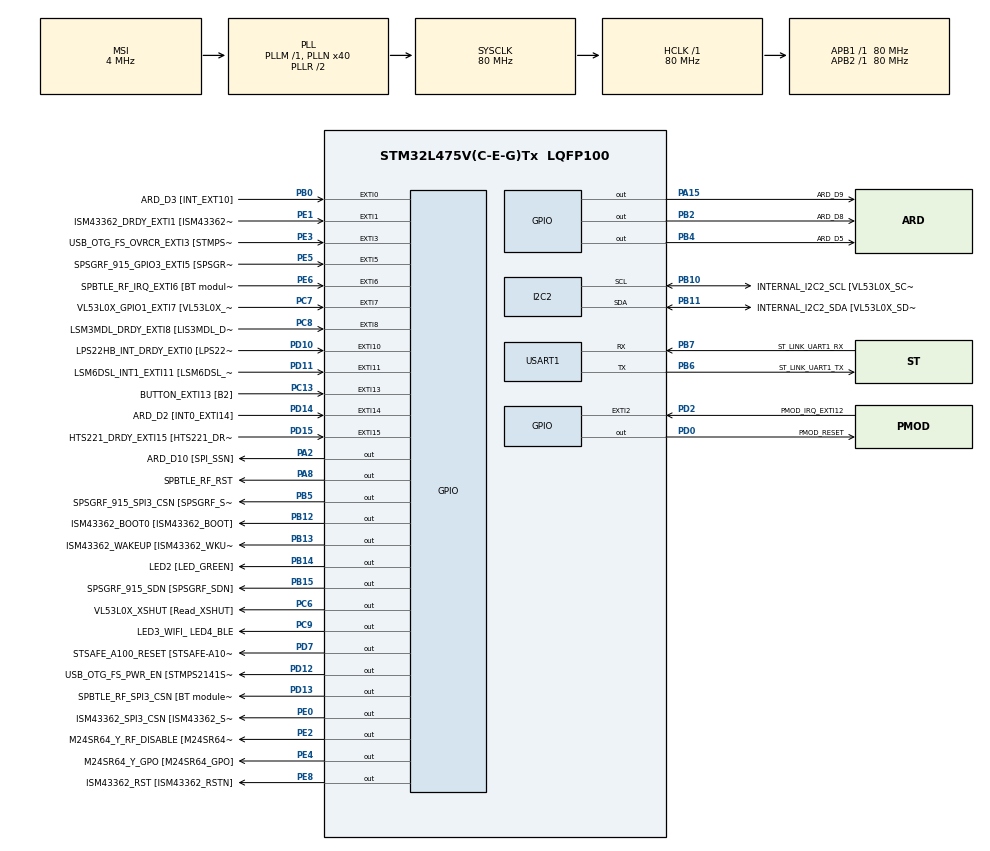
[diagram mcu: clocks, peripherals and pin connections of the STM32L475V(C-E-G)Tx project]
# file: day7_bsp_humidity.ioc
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I2C2.Timing=0x10909CEC
Mcu.Family=STM32L4
Mcu.Name=STM32L475V(C-E-G)Tx
Mcu.Package=LQFP100
NVIC.EXTI15_10_IRQn=true\:0\:0\:false\:false\:true\:true\:true
NVIC.EXTI9_5_IRQn=true\:0\:0\:false\:false\:true\:true\:true
NVIC.PriorityGroup=NVIC_PRIORITYGROUP_4
PA0.GPIO_Label=ARD_D1 [UART4_TX]
PA0.Signal=UART4_TX
PA1.GPIO_Label=ARD_D0 [UART4_RX]
PA1.Signal=UART4_RX
PA10.GPIO_Label=USB_OTG_FS_ID
PA10.Signal=USB_OTG_FS_ID
PA11.GPIO_Label=USB_OTG_FS_DM
PA11.Signal=USB_OTG_FS_DM
PA12.GPIO_Label=USB_OTG_FS_DP
PA12.Signal=USB_OTG_FS_DP
PA13\ (JTMS-SWDIO).GPIO_Label=SYS_JTMS_SWDIO
PA13\ (JTMS-SWDIO).Signal=SYS_JTMS-SWDIO
PA14\ (JTCK-SWCLK).GPIO_Label=SYS_JTCK_SWCLK
PA14\ (JTCK-SWCLK).Signal=SYS_JTCK-SWCLK
PA15\ (JTDI).GPIO_Label=ARD_D9
PA15\ (JTDI).Signal=GPIO_Output
PA2.GPIO_Label=ARD_D10 [SPI_SSN]
PA2.Signal=GPIO_Output
PA3.GPIO_Label=ARD_D4
PA3.Signal=S_TIM2_CH4
PA4.GPIO_Label=ARD_D7
PA4.Signal=ADCx_IN9
PA5.GPIO_Label=ARD_D13 [SPI1_SCK]
PA5.Signal=SPI1_SCK
PA6.GPIO_Label=ARD_D12 [SPI1_MISO]
PA6.Signal=SPI1_MISO
PA7.GPIO_Label=ARD_D11 [SPI1_MOSI]
PA7.Signal=SPI1_MOSI
PA8.GPIO_Label=SPBTLE_RF_RST
PA8.Signal=GPIO_Output
PA9.GPIO_Label=USB_OTG_FS_VBUS [STMPS2141STR_OUT]
PA9.Signal=USB_OTG_FS_VBUS
PB0.GPIO_Label=ARD_D3 [INT_EXT10]
PB0.Signal=GPXTI0
PB1.GPIO_Label=ARD_D6 [ADC1_IN6]
PB1.Signal=ADCx_IN16
PB10.GPIO_Label=INTERNAL_I2C2_SCL [VL53L0X_SCL]
PB10.Mode=I2C
PB10.Signal=I2C2_SCL
PB11.GPIO_Label=INTERNAL_I2C2_SDA [VL53L0X_SDA]
PB11.Mode=I2C
PB11.Signal=I2C2_SDA
PB12.GPIO_Label=ISM43362_BOOT0 [ISM43362_BOOT]
PB12.Signal=GPIO_Output
PB13.GPIO_Label=ISM43362_WAKEUP [ISM43362_WKUP]
PB13.Signal=GPIO_Output
PB14.GPIO_Label=LED2 [LED_GREEN]
PB14.Signal=GPIO_Output
PB15.GPIO_Label=SPSGRF_915_SDN [SPSGRF_SDN]
PB15.Signal=GPIO_Output
PB2.GPIO_Label=ARD_D8
PB2.Signal=GPIO_Output
PB3\ (JTDO-TRACESWO).GPIO_Label=SYS_JTD0_SWO
PB3\ (JTDO-TRACESWO).Signal=SYS_JTDO-SWO
PB4\ (NJTRST).GPIO_Label=ARD_D5
PB4\ (NJTRST).Signal=GPIO_Output
PB5.GPIO_Label=SPSGRF_915_SPI3_CSN [SPSGRF_SPI_CS]
PB5.PinState=GPIO_PIN_SET
PB5.Signal=GPIO_Output
PB6.GPIO_Label=ST_LINK_UART1_TX
PB6.Mode=Asynchronous
PB6.Signal=USART1_TX
PB7.GPIO_Label=ST_LINK_UART1_RX
PB7.Mode=Asynchronous
PB7.Signal=USART1_RX
PB8.GPIO_Label=ARD_D15 [I2C1_SCL]
PB8.Signal=I2C1_SCL
PB9.GPIO_Label=ARD_D14 [I2C1_SDA]
PB9.Signal=I2C1_SDA
PC0.GPIO_Label=ARD_A5 [ADC]
PC0.Signal=ADCx_IN1
PC1.GPIO_Label=ARD_A4 [ADC]
PC1.Signal=ADCx_IN2
PC10.GPIO_Label=INTERNAL_SPI3_SCK [BT module_SPI_SCLK] [ISM43362_SCK]
PC10.Signal=SPI3_SCK
PC11.GPIO_Label=INTERNAL_SPI3_MISO [BT module_SPI_MISO] [ISM43362_MISO]
PC11.Signal=SPI3_MISO
PC12.GPIO_Label=INTERNAL_SPI3_MOSI [BT module_SPI_MOSI] [ISM43362_MOSI]
PC12.Signal=SPI3_MOSI
PC13.GPIO_Label=BUTTON_EXTI13 [B2]
PC13.GPIO_ModeDefaultEXTI=GPIO_MODE_IT_FALLING
PC13.Signal=GPXTI13
PC14-OSC32_IN\ (PC14).Signal=RCC_OSC32_IN
PC15-OSC32_OUT\ (PC15).Signal=RCC_OSC32_OUT
PC2.GPIO_Label=ARD_A3 [ADC]
PC2.Signal=ADCx_IN3
PC3.GPIO_Label=ARD_A2 [ADC]
PC3.Signal=ADCx_IN4
PC4.GPIO_Label=ARD_A1 [ADC]
PC4.Signal=ADCx_IN13
PC5.GPIO_Label=ARD_A0 [ADC]
PC5.Signal=ADCx_IN14
PC6.GPIO_Label=VL53L0X_XSHUT [Read_XSHUT]
PC6.Signal=GPIO_Output
PC7.GPIO_Label=VL53L0X_GPIO1_EXTI7 [VL53L0X_GPIO1]
PC7.Signal=GPXTI7
PC8.GPIO_Label=LSM3MDL_DRDY_EXTI8 [LIS3MDL_DRDY]
PC8.Signal=GPXTI8
PC9.GPIO_Label=LED3_WIFI_ LED4_BLE
PC9.Signal=GPIO_Output
PD0.GPIO_Label=PMOD_RESET
PD0.Signal=GPIO_Output
PD1.GPIO_Label=PMOD_SPI2_SCK
PD1.Signal=SPI2_SCK
PD10.GPIO_Label=LPS22HB_INT_DRDY_EXTI0 [LPS22HB_INT_DRDY] 
PD10.Signal=GPXTI10
PD11.GPIO_Label=LSM6DSL_INT1_EXTI11 [LSM6DSL_INT1]
PD11.Signal=GPXTI11
PD12.GPIO_Label=USB_OTG_FS_PWR_EN [STMPS2141STR_EN]
PD12.Signal=GPIO_Output
PD13.GPIO_Label=SPBTLE_RF_SPI3_CSN [BT module_SPI_CS]
PD13.PinState=GPIO_PIN_SET
PD13.Signal=GPIO_Output
PD14.GPIO_Label=ARD_D2 [INT0_EXTI14]
PD14.Signal=GPXTI14
PD15.GPIO_Label=HTS221_DRDY_EXTI15 [HTS221_DRDY]
PD15.Signal=GPXTI15
PD2.GPIO_Label=PMOD_IRQ_EXTI12
PD2.Signal=GPXTI2
PD3.GPIO_Label=PMOD_UART2_CTS
PD3.Signal=USART2_CTS
PD4.GPIO_Label=PMOD_UART2_RTS
PD4.Signal=USART2_RTS
PD5.GPIO_Label=PMOD_UART2_TX
PD5.Signal=USART2_TX
PD6.GPIO_Label=PMOD_UART2_RX
PD6.Signal=USART2_RX
PD7.GPIO_Label=STSAFE_A100_RESET [STSAFE-A100_RESET]
PD7.Signal=GPIO_Output
PD8.GPIO_Label=INTERNAL_UART3_TX [ISM43362_RX]
PD8.Signal=USART3_TX
PD9.GPIO_Label=INTERNAL_UART3_RX [ISM43362_TX]
PD9.Signal=USART3_RX
PE0.GPIO_Label=ISM43362_SPI3_CSN [ISM43362_SSN]
PE0.PinState=GPIO_PIN_SET
PE0.Signal=GPIO_Output
PE1.GPIO_Label=ISM43362_DRDY_EXTI1 [ISM43362_DATARDY]
PE1.Signal=GPXTI1
PE10.GPIO_Label=QUADSPI_CLK [MX25R6435F_SCLK]
PE10.Signal=QUADSPI_CLK
PE11.GPIO_Label=QUADSPI_NCS [MX25R6435F_SCLK]
PE11.Signal=QUADSPI_NCS
PE12.GPIO_Label=OQUADSPI_BK1_IO0 [MX25R6435F_IO0]
PE12.Signal=QUADSPI_BK1_IO0
PE13.GPIO_Label=QUADSPI_BK1_IO1 [MX25R6435F_IO1]
PE13.Signal=QUADSPI_BK1_IO1
PE14.GPIO_Label=QUAD_SPI_BK1_IO2 [MX25R6435F_IO2]
PE14.Signal=QUADSPI_BK1_IO2
PE15.GPIO_Label=QUAD_SPI_BK1_IO3 [MX25R6435F_IO3]
PE15.Signal=QUADSPI_BK1_IO3
PE2.GPIO_Label=M24SR64_Y_RF_DISABLE [M24SR64_RFDIS]
PE2.Signal=GPIO_Output
PE3.GPIO_Label=USB_OTG_FS_OVRCR_EXTI3 [STMPS2141STR_FAULT]
PE3.Signal=GPXTI3
PE4.GPIO_Label=M24SR64_Y_GPO [M24SR64_GPO]
PE4.Signal=GPIO_Output
PE5.GPIO_Label=SPSGRF_915_GPIO3_EXTI5 [SPSGRF_GPIO_3]
PE5.Signal=GPXTI5
PE6.GPIO_Label=SPBTLE_RF_IRQ_EXTI6 [BT module_SPI_IRQ]
PE6.Signal=GPXTI6
PE7.GPIO_Label=DFSDM1_DATIN2 [MP34DT01_DOUT]
PE7.Signal=S_DATAIN2DFSDM1
PE8.GPIO_Label=ISM43362_RST [ISM43362_RSTN]
PE8.Signal=GPIO_Output
PE9.GPIO_Label=DFSDM1_CKOUT [MP34DT01_CLK]
PE9.Signal=S_CKOUTDFSDM1
ProjectManager.HeapSize=0x200
ProjectManager.StackSize=0x400
ProjectManager.TargetToolchain=STM32CubeIDE
RCC.ADCFreq_Value=48000000
RCC.AHBFreq_Value=80000000
RCC.APB1Freq_Value=80000000
RCC.APB1TimFreq_Value=80000000
RCC.APB2Freq_Value=80000000
RCC.APB2TimFreq_Value=80000000
RCC.CortexFreq_Value=80000000
RCC.HCLKFreq_Value=80000000
RCC.HSE_VALUE=8000000
RCC.HSI_VALUE=16000000
RCC.LSE_VALUE=32768
RCC.MSI_VALUE=4000000
RCC.PLLN=40
RCC.PLLSAI1N=24
RCC.SYSCLKFreq_VALUE=80000000
RCC.SYSCLKSource=RCC_SYSCLKSOURCE_PLLCLK
RCC.USBFreq_Value=48000000
RCC.VCOOutputFreq_Value=160000000
SH.ADCx_IN1.0=ADC1_IN1
SH.ADCx_IN13.0=ADC1_IN13
SH.ADCx_IN14.0=ADC1_IN14
SH.ADCx_IN16.0=ADC1_IN16
SH.ADCx_IN2.0=ADC1_IN2
SH.ADCx_IN3.0=ADC1_IN3
SH.ADCx_IN4.0=ADC1_IN4
SH.ADCx_IN9.0=ADC1_IN9
SH.S_CKOUTDFSDM1.0=DFSDM1_CKOUT
SH.S_DATAIN2DFSDM1.0=DFSDM1_DATIN2
SH.S_TIM2_CH4.0=TIM2_CH4
USART1.VirtualMode-Asynchronous=VM_ASYNC
board=B-L475E-IOT01A1

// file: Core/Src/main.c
/* USER CODE BEGIN Header */
/**
  ******************************************************************************
  * @file           : main.c
  * @brief          : Main program body
  ******************************************************************************
  * @attention
  *
  * <h2><center>&copy; Copyright (c) 2023 STMicroelectronics.
  * All rights reserved.</center></h2>
  *
  * This software component is licensed by ST under BSD 3-Clause license,
  * the "License"; You may not use this file except in compliance with the
  * License. You may obtain a copy of the License at:
  *                        opensource.org/licenses/BSD-3-Clause
  *
  ******************************************************************************
  */
/* USER CODE END Header */
#include "main.h"

/* USER CODE BEGIN Includes */
#include <stdio.h>

#include "stm32l475e_iot01.h"

#include "stm32l475e_iot01_tsensor.h"
#include "stm32l475e_iot01_hsensor.h"
#include "stm32l475e_iot01_psensor.h"

#include <math.h>

/* USER CODE END Includes */

I2C_HandleTypeDef hi2c2;

UART_HandleTypeDef huart1;

/* USER CODE BEGIN PV */
float temp_value = 0; // Measured temperature value
float hum_value = 0;
float pre_value = 0;

char str_tmp[100] = ""; // Formatted message to display the temperature value
char str_hum[100] = "";
char str_pre[100] = "";
uint8_t msg1[] = "****** Temperature values measurement ******\n\n\r";

uint8_t msg2[] = "=====> Initialize Temperature sensor HTS221 \r\n";

uint8_t msg3[] = "=====> Temperature sensor HTS221 initialized \r\n ";
/* USER CODE END PV */

void SystemClock_Config(void);
static void MX_GPIO_Init(void);
static void MX_I2C2_Init(void);
static void MX_USART1_UART_Init(void);

int main(void)
{

  /* MCU Configuration--------------------------------------------------------*/

  /* Reset of all peripherals, Initializes the Flash interface and the Systick. */
  HAL_Init();

  /* Configure the system clock */
  SystemClock_Config();

  /* Initialize all configured peripherals */
  MX_GPIO_Init();
  MX_I2C2_Init();
  MX_USART1_UART_Init();
  /* USER CODE BEGIN 2 */
  //printf("****** Temperature values measurement ******\n\n\r");

  HAL_UART_Transmit(&huart1,msg1,sizeof(msg1),1000);

  //printf("=====> Initialize Temperature sensor HTS221 \r\n");

  HAL_UART_Transmit(&huart1,msg2,sizeof(msg2),1000);

  BSP_TSENSOR_Init();

  //printf("=====> Temperature sensor HTS221 initialized \r\n ");

  HAL_UART_Transmit(&huart1,msg3,sizeof(msg3),1000);
  printf("****** Temperature values measurement ******\n\n\r");

  printf("=====> Initialize Temperature sensor HTS221 \r\n");

  BSP_TSENSOR_Init();
  printf("****** HUMIDITY values measurement ******\n\n\r");

    printf("=====> Initialize HUMIDITY sensor HTS221 \r\n");
  BSP_HSENSOR_Init();
  printf("****** PRESSURE values measurement ******\n\n\r");

    printf("=====> Initialize PRESSURE sensor HTS221 \r\n");
  BSP_PSENSOR_Init();

  printf("=====> Temperature sensor HTS221 initialized \r\n ");

  /* USER CODE END 2 */

  /* Infinite loop */
  while (1)
  {

    /* USER CODE BEGIN 3 */
	  temp_value = BSP_TSENSOR_ReadTemp();

	  int tmpInt1 = temp_value;

	  float tmpFrac = temp_value - tmpInt1;

	  int tmpInt2 = trunc(tmpFrac * 100);

	  printf(" TEMPERATURE = %d.%02d\n\r", tmpInt1, tmpInt2);

	  //printf(" TEMPERATURE = %d.%02d\n\r", tmpInt1, tmpInt2);

	  snprintf(str_tmp,100," TEMPERATURE = %d.%02d\n\r", tmpInt1, tmpInt2);

	  HAL_UART_Transmit(&huart1,( uint8_t * )str_tmp,sizeof(str_tmp),1000);

	 // HAL_Delay(3000);
	 // HAL_Delay(3000);

	  hum_value = BSP_HSENSOR_ReadHumidity();

	  	  int humInt1 = hum_value;

	  	  float humFrac = hum_value - humInt1;

	  	  int humInt2 = trunc(humFrac * 100);

	  	  printf(" HUMIDITY = %d.%02d\n\r", humInt1, humInt2);

	  	snprintf(str_hum,100," HUMIDITY = %d.%02d\n\r", humInt1, humInt2);

	    HAL_UART_Transmit(&huart1,( uint8_t * )str_hum,sizeof(str_hum),1000);

	  	 // HAL_Delay(3000);

	  	pre_value = BSP_PSENSOR_ReadPressure();

	  		  	  int preInt1 = pre_value;

	  		  	  float preFrac = pre_value - preInt1;

	  		  	  int preInt2 = trunc(preFrac * 100);

	  		  	  printf(" PRESSURE = %d.%02d\n\r", preInt1, preInt2);

	  		  	  snprintf(str_pre,100," Presure = %d.%02d\n\r", preInt1, preInt2);

	  		      HAL_UART_Transmit(&huart1,( uint8_t * )str_pre,sizeof(str_pre),1000);

	  		  	  HAL_Delay(3000);

	  }

  /* USER CODE END 3 */
}

void SystemClock_Config(void)
{
  RCC_OscInitTypeDef RCC_OscInitStruct = {0};
  RCC_ClkInitTypeDef RCC_ClkInitStruct = {0};

  /** Configure the main internal regulator output voltage
  */
  if (HAL_PWREx_ControlVoltageScaling(PWR_REGULATOR_VOLTAGE_SCALE1) != HAL_OK)
  {
    Error_Handler();
  }
  /** Initializes the RCC Oscillators according to the specified parameters
  * in the RCC_OscInitTypeDef structure.
  */
  RCC_OscInitStruct.OscillatorType = RCC_OSCILLATORTYPE_MSI;
  RCC_OscInitStruct.MSIState = RCC_MSI_ON;
  RCC_OscInitStruct.MSICalibrationValue = 0;
  RCC_OscInitStruct.MSIClockRange = RCC_MSIRANGE_6;
  RCC_OscInitStruct.PLL.PLLState = RCC_PLL_ON;
  RCC_OscInitStruct.PLL.PLLSource = RCC_PLLSOURCE_MSI;
  RCC_OscInitStruct.PLL.PLLM = 1;
  RCC_OscInitStruct.PLL.PLLN = 40;
  RCC_OscInitStruct.PLL.PLLP = RCC_PLLP_DIV7;
  RCC_OscInitStruct.PLL.PLLQ = RCC_PLLQ_DIV2;
  RCC_OscInitStruct.PLL.PLLR = RCC_PLLR_DIV2;
  if (HAL_RCC_OscConfig(&RCC_OscInitStruct) != HAL_OK)
  {
    Error_Handler();
  }
  /** Initializes the CPU, AHB and APB buses clocks
  */
  RCC_ClkInitStruct.ClockType = RCC_CLOCKTYPE_HCLK|RCC_CLOCKTYPE_SYSCLK
                              |RCC_CLOCKTYPE_PCLK1|RCC_CLOCKTYPE_PCLK2;
  RCC_ClkInitStruct.SYSCLKSource = RCC_SYSCLKSOURCE_PLLCLK;
  RCC_ClkInitStruct.AHBCLKDivider = RCC_SYSCLK_DIV1;
  RCC_ClkInitStruct.APB1CLKDivider = RCC_HCLK_DIV1;
  RCC_ClkInitStruct.APB2CLKDivider = RCC_HCLK_DIV1;

  if (HAL_RCC_ClockConfig(&RCC_ClkInitStruct, FLASH_LATENCY_4) != HAL_OK)
  {
    Error_Handler();
  }
}

static void MX_I2C2_Init(void)
{

  hi2c2.Instance = I2C2;
  hi2c2.Init.Timing = 0x10909CEC;
  hi2c2.Init.OwnAddress1 = 0;
  hi2c2.Init.AddressingMode = I2C_ADDRESSINGMODE_7BIT;
  hi2c2.Init.DualAddressMode = I2C_DUALADDRESS_DISABLE;
  hi2c2.Init.OwnAddress2 = 0;
  hi2c2.Init.OwnAddress2Masks = I2C_OA2_NOMASK;
  hi2c2.Init.GeneralCallMode = I2C_GENERALCALL_DISABLE;
  hi2c2.Init.NoStretchMode = I2C_NOSTRETCH_DISABLE;
  if (HAL_I2C_Init(&hi2c2) != HAL_OK)
  {
    Error_Handler();
  }
  /** Configure Analogue filter
  */
  if (HAL_I2CEx_ConfigAnalogFilter(&hi2c2, I2C_ANALOGFILTER_ENABLE) != HAL_OK)
  {
    Error_Handler();
  }
  /** Configure Digital filter
  */
  if (HAL_I2CEx_ConfigDigitalFilter(&hi2c2, 0) != HAL_OK)
  {
    Error_Handler();
  }

}

static void MX_USART1_UART_Init(void)
{

  huart1.Instance = USART1;
  huart1.Init.BaudRate = 115200;
  huart1.Init.WordLength = UART_WORDLENGTH_8B;
  huart1.Init.StopBits = UART_STOPBITS_1;
  huart1.Init.Parity = UART_PARITY_NONE;
  huart1.Init.Mode = UART_MODE_TX_RX;
  huart1.Init.HwFlowCtl = UART_HWCONTROL_NONE;
  huart1.Init.OverSampling = UART_OVERSAMPLING_16;
  huart1.Init.OneBitSampling = UART_ONE_BIT_SAMPLE_DISABLE;
  huart1.AdvancedInit.AdvFeatureInit = UART_ADVFEATURE_NO_INIT;
  if (HAL_UART_Init(&huart1) != HAL_OK)
  {
    Error_Handler();
  }

}

static void MX_GPIO_Init(void)
{
  GPIO_InitTypeDef GPIO_InitStruct = {0};

  /* GPIO Ports Clock Enable */
  __HAL_RCC_GPIOE_CLK_ENABLE();
  __HAL_RCC_GPIOC_CLK_ENABLE();
  __HAL_RCC_GPIOA_CLK_ENABLE();
  __HAL_RCC_GPIOB_CLK_ENABLE();
  __HAL_RCC_GPIOD_CLK_ENABLE();

  /*Configure GPIO pin Output Level */
  HAL_GPIO_WritePin(GPIOE, M24SR64_Y_RF_DISABLE_Pin|M24SR64_Y_GPO_Pin|ISM43362_RST_Pin, GPIO_PIN_RESET);

  /*Configure GPIO pin Output Level */
  HAL_GPIO_WritePin(GPIOA, ARD_D10_Pin|SPBTLE_RF_RST_Pin|ARD_D9_Pin, GPIO_PIN_RESET);

  /*Configure GPIO pin Output Level */
  HAL_GPIO_WritePin(GPIOB, ARD_D8_Pin|ISM43362_BOOT0_Pin|ISM43362_WAKEUP_Pin|LED2_Pin
                          |SPSGRF_915_SDN_Pin|ARD_D5_Pin, GPIO_PIN_RESET);

  /*Configure GPIO pin Output Level */
  HAL_GPIO_WritePin(GPIOD, USB_OTG_FS_PWR_EN_Pin|PMOD_RESET_Pin|STSAFE_A100_RESET_Pin, GPIO_PIN_RESET);

  /*Configure GPIO pin Output Level */
  HAL_GPIO_WritePin(SPBTLE_RF_SPI3_CSN_GPIO_Port, SPBTLE_RF_SPI3_CSN_Pin, GPIO_PIN_SET);

  /*Configure GPIO pin Output Level */
  HAL_GPIO_WritePin(GPIOC, VL53L0X_XSHUT_Pin|LED3_WIFI__LED4_BLE_Pin, GPIO_PIN_RESET);

  /*Configure GPIO pin Output Level */
  HAL_GPIO_WritePin(SPSGRF_915_SPI3_CSN_GPIO_Port, SPSGRF_915_SPI3_CSN_Pin, GPIO_PIN_SET);

  /*Configure GPIO pin Output Level */
  HAL_GPIO_WritePin(ISM43362_SPI3_CSN_GPIO_Port, ISM43362_SPI3_CSN_Pin, GPIO_PIN_SET);

  /*Configure GPIO pins : M24SR64_Y_RF_DISABLE_Pin M24SR64_Y_GPO_Pin ISM43362_RST_Pin ISM43362_SPI3_CSN_Pin */
  GPIO_InitStruct.Pin = M24SR64_Y_RF_DISABLE_Pin|M24SR64_Y_GPO_Pin|ISM43362_RST_Pin|ISM43362_SPI3_CSN_Pin;
  GPIO_InitStruct.Mode = GPIO_MODE_OUTPUT_PP;
  GPIO_InitStruct.Pull = GPIO_NOPULL;
  GPIO_InitStruct.Speed = GPIO_SPEED_FREQ_LOW;
  HAL_GPIO_Init(GPIOE, &GPIO_InitStruct);

  /*Configure GPIO pins : USB_OTG_FS_OVRCR_EXTI3_Pin SPSGRF_915_GPIO3_EXTI5_Pin SPBTLE_RF_IRQ_EXTI6_Pin ISM43362_DRDY_EXTI1_Pin */
  GPIO_InitStruct.Pin = USB_OTG_FS_OVRCR_EXTI3_Pin|SPSGRF_915_GPIO3_EXTI5_Pin|SPBTLE_RF_IRQ_EXTI6_Pin|ISM43362_DRDY_EXTI1_Pin;
  GPIO_InitStruct.Mode = GPIO_MODE_IT_RISING;
  GPIO_InitStruct.Pull = GPIO_NOPULL;
  HAL_GPIO_Init(GPIOE, &GPIO_InitStruct);

  /*Configure GPIO pin : BUTTON_EXTI13_Pin */
  GPIO_InitStruct.Pin = BUTTON_EXTI13_Pin;
  GPIO_InitStruct.Mode = GPIO_MODE_IT_FALLING;
  GPIO_InitStruct.Pull = GPIO_NOPULL;
  HAL_GPIO_Init(BUTTON_EXTI13_GPIO_Port, &GPIO_InitStruct);

  /*Configure GPIO pins : ARD_A5_Pin ARD_A4_Pin ARD_A3_Pin ARD_A2_Pin
                           ARD_A1_Pin ARD_A0_Pin */
  GPIO_InitStruct.Pin = ARD_A5_Pin|ARD_A4_Pin|ARD_A3_Pin|ARD_A2_Pin
                          |ARD_A1_Pin|ARD_A0_Pin;
  GPIO_InitStruct.Mode = GPIO_MODE_ANALOG_ADC_CONTROL;
  GPIO_InitStruct.Pull = GPIO_NOPULL;
  HAL_GPIO_Init(GPIOC, &GPIO_InitStruct);

  /*Configure GPIO pins : ARD_D1_Pin ARD_D0_Pin */
  GPIO_InitStruct.Pin = ARD_D1_Pin|ARD_D0_Pin;
  GPIO_InitStruct.Mode = GPIO_MODE_AF_PP;
  GPIO_InitStruct.Pull = GPIO_NOPULL;
  GPIO_InitStruct.Speed = GPIO_SPEED_FREQ_VERY_HIGH;
  GPIO_InitStruct.Alternate = GPIO_AF8_UART4;
  HAL_GPIO_Init(GPIOA, &GPIO_InitStruct);

  /*Configure GPIO pins : ARD_D10_Pin SPBTLE_RF_RST_Pin ARD_D9_Pin */
  GPIO_InitStruct.Pin = ARD_D10_Pin|SPBTLE_RF_RST_Pin|ARD_D9_Pin;
  GPIO_InitStruct.Mode = GPIO_MODE_OUTPUT_PP;
  GPIO_InitStruct.Pull = GPIO_NOPULL;
  GPIO_InitStruct.Speed = GPIO_SPEED_FREQ_LOW;
  HAL_GPIO_Init(GPIOA, &GPIO_InitStruct);

  /*Configure GPIO pin : ARD_D4_Pin */
  GPIO_InitStruct.Pin = ARD_D4_Pin;
  GPIO_InitStruct.Mode = GPIO_MODE_AF_PP;
  GPIO_InitStruct.Pull = GPIO_NOPULL;
  GPIO_InitStruct.Speed = GPIO_SPEED_FREQ_LOW;
  GPIO_InitStruct.Alternate = GPIO_AF1_TIM2;
  HAL_GPIO_Init(ARD_D4_GPIO_Port, &GPIO_InitStruct);

  /*Configure GPIO pin : ARD_D7_Pin */
  GPIO_InitStruct.Pin = ARD_D7_Pin;
  GPIO_InitStruct.Mode = GPIO_MODE_ANALOG_ADC_CONTROL;
  GPIO_InitStruct.Pull = GPIO_NOPULL;
  HAL_GPIO_Init(ARD_D7_GPIO_Port, &GPIO_InitStruct);

  /*Configure GPIO pins : ARD_D13_Pin ARD_D12_Pin ARD_D11_Pin */
  GPIO_InitStruct.Pin = ARD_D13_Pin|ARD_D12_Pin|ARD_D11_Pin;
  GPIO_InitStruct.Mode = GPIO_MODE_AF_PP;
  GPIO_InitStruct.Pull = GPIO_NOPULL;
  GPIO_InitStruct.Speed = GPIO_SPEED_FREQ_VERY_HIGH;
  GPIO_InitStruct.Alternate = GPIO_AF5_SPI1;
  HAL_GPIO_Init(GPIOA, &GPIO_InitStruct);

  /*Configure GPIO pin : ARD_D3_Pin */
  GPIO_InitStruct.Pin = ARD_D3_Pin;
  GPIO_InitStruct.Mode = GPIO_MODE_IT_RISING;
  GPIO_InitStruct.Pull = GPIO_NOPULL;
  HAL_GPIO_Init(ARD_D3_GPIO_Port, &GPIO_InitStruct);

  /*Configure GPIO pin : ARD_D6_Pin */
  GPIO_InitStruct.Pin = ARD_D6_Pin;
  GPIO_InitStruct.Mode = GPIO_MODE_ANALOG_ADC_CONTROL;
  GPIO_InitStruct.Pull = GPIO_NOPULL;
  HAL_GPIO_Init(ARD_D6_GPIO_Port, &GPIO_InitStruct);

  /*Configure GPIO pins : ARD_D8_Pin ISM43362_BOOT0_Pin ISM43362_WAKEUP_Pin LED2_Pin
                           SPSGRF_915_SDN_Pin ARD_D5_Pin SPSGRF_915_SPI3_CSN_Pin */
  GPIO_InitStruct.Pin = ARD_D8_Pin|ISM43362_BOOT0_Pin|ISM43362_WAKEUP_Pin|LED2_Pin
                          |SPSGRF_915_SDN_Pin|ARD_D5_Pin|SPSGRF_915_SPI3_CSN_Pin;
  GPIO_InitStruct.Mode = GPIO_MODE_OUTPUT_PP;
  GPIO_InitStruct.Pull = GPIO_NOPULL;
  GPIO_InitStruct.Speed = GPIO_SPEED_FREQ_LOW;
  HAL_GPIO_Init(GPIOB, &GPIO_InitStruct);

  /*Configure GPIO pins : DFSDM1_DATIN2_Pin DFSDM1_CKOUT_Pin */
  GPIO_InitStruct.Pin = DFSDM1_DATIN2_Pin|DFSDM1_CKOUT_Pin;
  GPIO_InitStruct.Mode = GPIO_MODE_AF_PP;
  GPIO_InitStruct.Pull = GPIO_NOPULL;
  GPIO_InitStruct.Speed = GPIO_SPEED_FREQ_LOW;
  GPIO_InitStruct.Alternate = GPIO_AF6_DFSDM1;
  HAL_GPIO_Init(GPIOE, &GPIO_InitStruct);

  /*Configure GPIO pins : QUADSPI_CLK_Pin QUADSPI_NCS_Pin OQUADSPI_BK1_IO0_Pin QUADSPI_BK1_IO1_Pin
                           QUAD_SPI_BK1_IO2_Pin QUAD_SPI_BK1_IO3_Pin */
  GPIO_InitStruct.Pin = QUADSPI_CLK_Pin|QUADSPI_NCS_Pin|OQUADSPI_BK1_IO0_Pin|QUADSPI_BK1_IO1_Pin
                          |QUAD_SPI_BK1_IO2_Pin|QUAD_SPI_BK1_IO3_Pin;
  GPIO_InitStruct.Mode = GPIO_MODE_AF_PP;
  GPIO_InitStruct.Pull = GPIO_NOPULL;
  GPIO_InitStruct.Speed = GPIO_SPEED_FREQ_VERY_HIGH;
  GPIO_InitStruct.Alternate = GPIO_AF10_QUADSPI;
  HAL_GPIO_Init(GPIOE, &GPIO_InitStruct);

  /*Configure GPIO pins : INTERNAL_UART3_TX_Pin INTERNAL_UART3_RX_Pin */
  GPIO_InitStruct.Pin = INTERNAL_UART3_TX_Pin|INTERNAL_UART3_RX_Pin;
  GPIO_InitStruct.Mode = GPIO_MODE_AF_PP;
  GPIO_InitStruct.Pull = GPIO_NOPULL;
  GPIO_InitStruct.Speed = GPIO_SPEED_FREQ_VERY_HIGH;
  GPIO_InitStruct.Alternate = GPIO_AF7_USART3;
  HAL_GPIO_Init(GPIOD, &GPIO_InitStruct);

  /*Configure GPIO pins : LPS22HB_INT_DRDY_EXTI0_Pin LSM6DSL_INT1_EXTI11_Pin ARD_D2_Pin HTS221_DRDY_EXTI15_Pin
                           PMOD_IRQ_EXTI12_Pin */
  GPIO_InitStruct.Pin = LPS22HB_INT_DRDY_EXTI0_Pin|LSM6DSL_INT1_EXTI11_Pin|ARD_D2_Pin|HTS221_DRDY_EXTI15_Pin
                          |PMOD_IRQ_EXTI12_Pin;
  GPIO_InitStruct.Mode = GPIO_MODE_IT_RISING;
  GPIO_InitStruct.Pull = GPIO_NOPULL;
  HAL_GPIO_Init(GPIOD, &GPIO_InitStruct);

  /*Configure GPIO pins : USB_OTG_FS_PWR_EN_Pin SPBTLE_RF_SPI3_CSN_Pin PMOD_RESET_Pin STSAFE_A100_RESET_Pin */
  GPIO_InitStruct.Pin = USB_OTG_FS_PWR_EN_Pin|SPBTLE_RF_SPI3_CSN_Pin|PMOD_RESET_Pin|STSAFE_A100_RESET_Pin;
  GPIO_InitStruct.Mode = GPIO_MODE_OUTPUT_PP;
  GPIO_InitStruct.Pull = GPIO_NOPULL;
  GPIO_InitStruct.Speed = GPIO_SPEED_FREQ_LOW;
  HAL_GPIO_Init(GPIOD, &GPIO_InitStruct);

  /*Configure GPIO pins : VL53L0X_XSHUT_Pin LED3_WIFI__LED4_BLE_Pin */
  GPIO_InitStruct.Pin = VL53L0X_XSHUT_Pin|LED3_WIFI__LED4_BLE_Pin;
  GPIO_InitStruct.Mode = GPIO_MODE_OUTPUT_PP;
  GPIO_InitStruct.Pull = GPIO_NOPULL;
  GPIO_InitStruct.Speed = GPIO_SPEED_FREQ_LOW;
  HAL_GPIO_Init(GPIOC, &GPIO_InitStruct);

  /*Configure GPIO pins : VL53L0X_GPIO1_EXTI7_Pin LSM3MDL_DRDY_EXTI8_Pin */
  GPIO_InitStruct.Pin = VL53L0X_GPIO1_EXTI7_Pin|LSM3MDL_DRDY_EXTI8_Pin;
  GPIO_InitStruct.Mode = GPIO_MODE_IT_RISING;
  GPIO_InitStruct.Pull = GPIO_NOPULL;
  HAL_GPIO_Init(GPIOC, &GPIO_InitStruct);

  /*Configure GPIO pin : USB_OTG_FS_VBUS_Pin */
  GPIO_InitStruct.Pin = USB_OTG_FS_VBUS_Pin;
  GPIO_InitStruct.Mode = GPIO_MODE_INPUT;
  GPIO_InitStruct.Pull = GPIO_NOPULL;
  HAL_GPIO_Init(USB_OTG_FS_VBUS_GPIO_Port, &GPIO_InitStruct);

  /*Configure GPIO pins : USB_OTG_FS_ID_Pin USB_OTG_FS_DM_Pin USB_OTG_FS_DP_Pin */
  GPIO_InitStruct.Pin = USB_OTG_FS_ID_Pin|USB_OTG_FS_DM_Pin|USB_OTG_FS_DP_Pin;
  GPIO_InitStruct.Mode = GPIO_MODE_AF_PP;
  GPIO_InitStruct.Pull = GPIO_NOPULL;
  GPIO_InitStruct.Speed = GPIO_SPEED_FREQ_VERY_HIGH;
  GPIO_InitStruct.Alternate = GPIO_AF10_OTG_FS;
  HAL_GPIO_Init(GPIOA, &GPIO_InitStruct);

  /*Configure GPIO pins : INTERNAL_SPI3_SCK_Pin INTERNAL_SPI3_MISO_Pin INTERNAL_SPI3_MOSI_Pin */
  GPIO_InitStruct.Pin = INTERNAL_SPI3_SCK_Pin|INTERNAL_SPI3_MISO_Pin|INTERNAL_SPI3_MOSI_Pin;
  GPIO_InitStruct.Mode = GPIO_MODE_AF_PP;
  GPIO_InitStruct.Pull = GPIO_NOPULL;
  GPIO_InitStruct.Speed = GPIO_SPEED_FREQ_VERY_HIGH;
  GPIO_InitStruct.Alternate = GPIO_AF6_SPI3;
  HAL_GPIO_Init(GPIOC, &GPIO_InitStruct);

  /*Configure GPIO pin : PMOD_SPI2_SCK_Pin */
  GPIO_InitStruct.Pin = PMOD_SPI2_SCK_Pin;
  GPIO_InitStruct.Mode = GPIO_MODE_AF_PP;
  GPIO_InitStruct.Pull = GPIO_NOPULL;
  GPIO_InitStruct.Speed = GPIO_SPEED_FREQ_VERY_HIGH;
  GPIO_InitStruct.Alternate = GPIO_AF5_SPI2;
  HAL_GPIO_Init(PMOD_SPI2_SCK_GPIO_Port, &GPIO_InitStruct);

  /*Configure GPIO pins : PMOD_UART2_CTS_Pin PMOD_UART2_RTS_Pin PMOD_UART2_TX_Pin PMOD_UART2_RX_Pin */
  GPIO_InitStruct.Pin = PMOD_UART2_CTS_Pin|PMOD_UART2_RTS_Pin|PMOD_UART2_TX_Pin|PMOD_UART2_RX_Pin;
  GPIO_InitStruct.Mode = GPIO_MODE_AF_PP;
  GPIO_InitStruct.Pull = GPIO_NOPULL;
  GPIO_InitStruct.Speed = GPIO_SPEED_FREQ_VERY_HIGH;
  GPIO_InitStruct.Alternate = GPIO_AF7_USART2;
  HAL_GPIO_Init(GPIOD, &GPIO_InitStruct);

  /*Configure GPIO pins : ARD_D15_Pin ARD_D14_Pin */
  GPIO_InitStruct.Pin = ARD_D15_Pin|ARD_D14_Pin;
  GPIO_InitStruct.Mode = GPIO_MODE_AF_OD;
  GPIO_InitStruct.Pull = GPIO_NOPULL;
  GPIO_InitStruct.Speed = GPIO_SPEED_FREQ_VERY_HIGH;
  GPIO_InitStruct.Alternate = GPIO_AF4_I2C1;
  HAL_GPIO_Init(GPIOB, &GPIO_InitStruct);

  /* EXTI interrupt init*/
  HAL_NVIC_SetPriority(EXTI9_5_IRQn, 0, 0);
  HAL_NVIC_EnableIRQ(EXTI9_5_IRQn);

  HAL_NVIC_SetPriority(EXTI15_10_IRQn, 0, 0);
  HAL_NVIC_EnableIRQ(EXTI15_10_IRQn);

}

void Error_Handler(void)
{
  __disable_irq();
  while (1)
  {
  }
}

/************************ (C) COPYRIGHT STMicroelectronics *****END OF FILE****/
